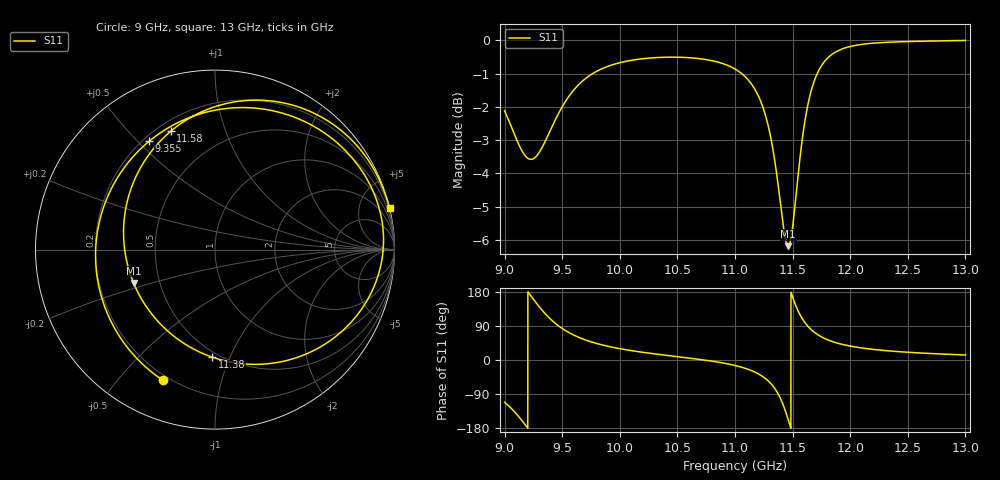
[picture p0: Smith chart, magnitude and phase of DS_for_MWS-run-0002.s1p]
! TOUCHSTONE file generated by CST DESIGN STUDIO
! Date and time: Tue Feb  4 18:09:18 2025
! Project name: C:\Work\MatlabApps\UnitCellOptimizationMatlab\CST\unitcell.cst
! Tree item: Tasks\Sweep1\SPara1\S-Parameters
! Header version: 2024
! Port assignment regex: !\s*Touchstone port\s*([0-9]+)\s*=\s*(CST MWS port|CST DES external port|CST DES block port)\s*(.+)\s* \(\"(.*)\"\)(\s*mode\s*([0-9]+))?.*
! Touchstone port assignment:
! Touchstone port 1 = CST DES external port 1 ("")
# GHz S MA R 50
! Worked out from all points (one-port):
!   4001 points, 9 GHz to 13 GHz, reference 50 ohm
!   lowest |S11| = -6.2 dB at 11.46 GHz (marker M1), VSWR 2.92, Z = 17.7 - j8.69 ohm
!   |S11| at or under -10 dB: nowhere
!   S11 on the Smith chart (normalised r, x): 9 GHz: 0.18, -0.67; 9.355 GHz: 0.22, +0.54; 11.38 GHz: 0.46, -0.86; 11.58 GHz: 0.25, +0.66; 13 GHz: -0.00, +8.61
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9  0.7841 -111.6
9.085  0.7221 -136.3
9.188  0.6679 -174.6
9.264  0.6665 154.5
9.355  0.7066 121.2
9.424  0.7496 100.8
9.5  0.7949 83.1
9.604  0.8438 65.2
9.716  0.8801 51.4
10  0.9259 29.9
10.5  0.9437 8.8
10.793  0.9329 -2.7
11  0.9058 -14.4
11.128  0.8667 -26.2
11.225  0.8084 -40.6
11.303  0.7248 -59.6
11.378  0.5995 -91.5
11.42  0.5251 -119.9
11.462  0.4903 -157.6
11.5  0.5239 166.3
11.536  0.5991 137.4
11.581  0.7041 110.5
11.652  0.8283 82.9
11.758  0.9204 59.8
11.863  0.9584 46.9
12  0.9794 36.7
12.5  0.9962 20.4
13  1 13.2
